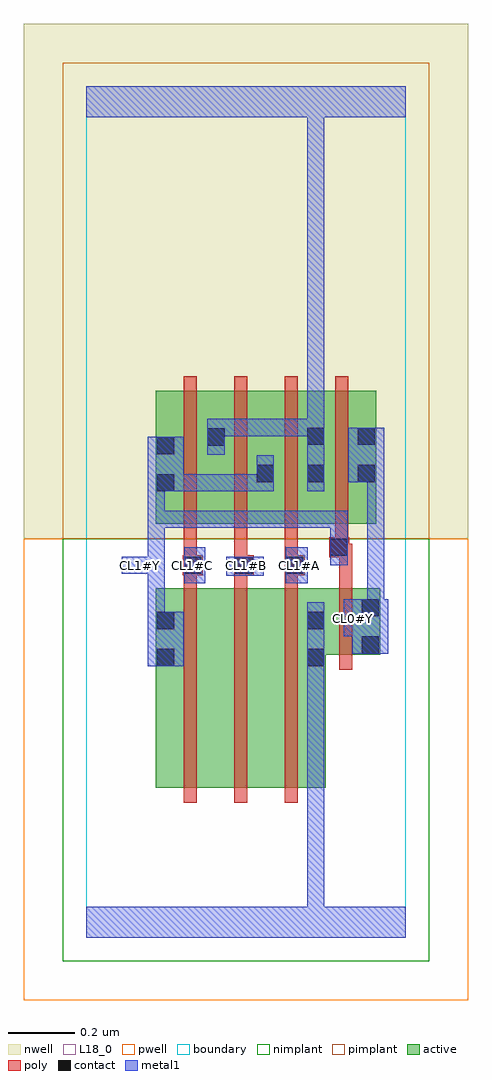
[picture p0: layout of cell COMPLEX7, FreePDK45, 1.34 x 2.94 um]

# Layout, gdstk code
import gdstk
lib = gdstk.Library(unit=1e-6, precision=1e-09)
def R(c, l, rs):  # rectangles x0, y0, x1, y1
    for r in rs: c.add(gdstk.rectangle(r[:2], r[2:], *l))
def A(c, l, x, y, w, h, nx, ny, dx, dy):  # array of equal rectangles
    R(c, l, [(x+i*dx, y+j*dy, x+i*dx+w, y+j*dy+h) for i in range(nx) for j in range(ny)])
active = (1, 0)
pwell = (2, 0)
nwell = (3, 0)
nimplant = (4, 0)
pimplant = (5, 0)
poly = (9, 0)
contact = (10, 0)
metal1 = (11, 0)
L18_0 = (18, 0)
boundary = (235, 0)

complex7 = lib.new_cell('COMPLEX7')
A(complex7, active, 0.508, 1.244, 0.06, 0.4, 3, 1, 0.152, 0)
R(complex7, active, [(0.208,0.45,0.388,1.05), (0.388,0.45,0.54,1.05), (0.54,0.45,0.72,1.05), (0.66,0.45,0.72,1.05), (0.208,0.556,0.268,1.05), (0.66,0.85,0.884,1.05), (0.824,0.85,0.884,1.05), (0.208,1.244,0.268,1.644), (0.208,1.244,0.42,1.644), (0.36,1.244,0.42,1.644), (0.36,1.244,0.568,1.644), (0.508,1.244,0.72,1.644), (0.66,1.244,0.872,1.644)])
R(complex7, pwell, [(-0.188,-0.188,1.148,1.2)])
R(complex7, nwell, [(-0.188,1.2,1.148,2.748)])
R(complex7, nimplant, [(-0.072,-0.072,1.032,1.2)])
R(complex7, pimplant, [(-0.072,1.2,1.032,2.632)])
A(complex7, poly, 0.292, 0.406, 0.04, 0.688, 3, 1, 0.152, 0)
A(complex7, poly, 0.292, 1.054, 0.04, 0.076, 3, 1, 0.152, 0)
A(complex7, poly, 0.292, 1.11, 0.04, 0.13, 3, 1, 0.152, 0)
A(complex7, poly, 0.292, 1.2, 0.04, 0.488, 4, 1, 0.152, 0)
R(complex7, poly, [(0.76,0.806,0.8,1.094), (0.76,1.054,0.8,1.184), (0.29,1.09,0.35,1.15), (0.444,1.09,0.504,1.15), (0.596,1.09,0.656,1.15), (0.292,1.11,0.332,1.15), (0.292,1.11,0.332,1.15), (0.444,1.11,0.484,1.15), (0.444,1.11,0.484,1.15), (0.596,1.11,0.636,1.15), (0.596,1.11,0.636,1.15), (0.73,1.144,0.79,1.204), (0.75,1.144,0.79,1.184), (0.75,1.144,0.8,1.184), (0.748,1.164,0.788,1.24)])
A(complex7, contact, 0.512, 1.37, 0.052, 0.052, 3, 1, 0.152, 0)
R(complex7, contact, [(0.212,0.816,0.264,0.868), (0.664,0.816,0.716,0.868), (0.828,0.854,0.88,0.906), (0.212,0.928,0.264,0.98), (0.664,0.928,0.716,0.98), (0.828,0.966,0.88,1.018), (0.294,1.094,0.346,1.146), (0.448,1.094,0.5,1.146), (0.6,1.094,0.652,1.146), (0.734,1.148,0.786,1.2), (0.212,1.342,0.264,1.394), (0.212,1.454,0.264,1.506), (0.364,1.48,0.416,1.532), (0.664,1.482,0.716,1.534), (0.816,1.482,0.868,1.534)])
R(complex7, metal1, [(0,0,0.96,0.092), (0.664,0.04,0.716,0.84), (0.664,0.788,0.716,0.84), (0.664,0.788,0.716,0.84), (0.664,0.788,0.716,0.84), (0.664,0.788,0.716,0.84), (0.664,0.788,0.716,0.84), (0.664,0.788,0.716,0.84), (0.664,0.788,0.716,0.84), (0.664,0.788,0.716,0.84), (0.664,0.788,0.716,1.008), (0.184,0.816,0.292,0.98), (0.8,0.854,0.908,1.018), (0.774,0.906,0.896,1.018), (0.8,0.906,0.852,0.958), (0.184,0.928,0.236,1.146), (0.844,0.966,0.896,1.422), (0.844,0.966,0.896,1.018), (0.844,0.966,0.896,1.018), (0.294,1.066,0.358,1.174), (0.6,1.066,0.666,1.174), (0.42,1.088,0.534,1.146), (0.106,1.094,0.236,1.146), (0.184,1.094,0.236,1.284), (0.734,1.12,0.786,1.284), (0.184,1.232,0.236,1.284), (0.184,1.232,0.236,1.284), (0.184,1.232,0.236,1.284), (0.184,1.232,0.438,1.284), (0.184,1.232,0.236,1.394), (0.386,1.232,0.438,1.284), (0.386,1.232,0.438,1.284), (0.386,1.232,0.438,1.284), (0.386,1.232,0.548,1.284), (0.496,1.232,0.548,1.284), (0.496,1.232,0.548,1.284), (0.496,1.232,0.548,1.284), (0.496,1.232,0.658,1.284), (0.606,1.232,0.658,1.284), (0.606,1.232,0.786,1.284), (0.184,1.342,0.292,1.506), (0.24,1.342,0.292,1.394), (0.24,1.342,0.292,1.394), (0.24,1.342,0.402,1.394), (0.35,1.342,0.402,1.394), (0.35,1.342,0.402,1.394), (0.35,1.342,0.402,1.394), (0.35,1.342,0.564,1.394), (0.512,1.342,0.564,1.45), (0.664,1.342,0.716,1.562), (0.788,1.37,0.896,1.534), (0.364,1.452,0.416,1.56), (0.364,1.508,0.416,1.56), (0.364,1.508,0.416,1.56), (0.364,1.508,0.548,1.56), (0.496,1.508,0.548,1.56), (0.496,1.508,0.548,1.56), (0.496,1.508,0.548,1.56), (0.496,1.508,0.716,1.56), (0.664,1.51,0.716,1.562), (0.664,1.51,0.716,1.562), (0.664,1.51,0.716,1.562), (0.664,1.51,0.716,1.562), (0.664,1.51,0.716,2.52), (0,2.468,0.96,2.56), (0.664,2.468,0.716,2.52), (0.664,2.468,0.716,2.52), (0.664,2.468,0.716,2.52), (0.664,2.468,0.716,2.52), (0.664,2.468,0.716,2.52), (0.664,2.468,0.716,2.52), (0.664,2.468,0.716,2.52), (0.664,2.468,0.716,2.52), (0.664,2.468,0.716,2.52), (0.664,2.468,0.716,2.52), (0.664,2.468,0.716,2.52), (0.664,2.468,0.716,2.52)])
A(complex7, L18_0, 0.134, 1.094, 0.052, 0.052, 4, 1, 0.16, 0)
R(complex7, L18_0, [(0,0,0.96,0.092), (0.664,0.04,0.716,0.84), (0.664,0.788,0.716,0.84), (0.664,0.788,0.716,0.84), (0.664,0.788,0.716,0.84), (0.664,0.788,0.716,0.84), (0.664,0.788,0.716,0.84), (0.664,0.788,0.716,0.84), (0.664,0.788,0.716,0.84), (0.664,0.788,0.716,0.84), (0.664,0.788,0.716,1.008), (0.184,0.816,0.292,0.98), (0.8,0.854,0.908,1.018), (0.774,0.906,0.896,1.018), (0.8,0.906,0.852,0.958), (0.184,0.928,0.236,1.146), (0.774,0.934,0.826,0.986), (0.844,0.966,0.896,1.018), (0.844,0.966,0.896,1.018), (0.844,0.966,0.896,1.422), (0.294,1.066,0.358,1.174), (0.6,1.066,0.666,1.174), (0.42,1.088,0.534,1.146), (0.106,1.094,0.236,1.146), (0.184,1.094,0.236,1.284), (0.734,1.12,0.786,1.284), (0.184,1.232,0.236,1.284), (0.184,1.232,0.236,1.284), (0.184,1.232,0.236,1.284), (0.184,1.232,0.236,1.394), (0.184,1.232,0.438,1.284), (0.386,1.232,0.438,1.284), (0.386,1.232,0.438,1.284), (0.386,1.232,0.438,1.284), (0.386,1.232,0.548,1.284), (0.496,1.232,0.548,1.284), (0.496,1.232,0.548,1.284), (0.496,1.232,0.548,1.284), (0.496,1.232,0.658,1.284), (0.606,1.232,0.658,1.284), (0.606,1.232,0.786,1.284), (0.184,1.342,0.292,1.506), (0.24,1.342,0.292,1.394), (0.24,1.342,0.292,1.394), (0.24,1.342,0.402,1.394), (0.35,1.342,0.402,1.394), (0.35,1.342,0.402,1.394), (0.35,1.342,0.402,1.394), (0.35,1.342,0.564,1.394), (0.512,1.342,0.564,1.45), (0.664,1.342,0.716,1.562), (0.788,1.37,0.896,1.534), (0.364,1.452,0.416,1.56), (0.364,1.508,0.416,1.56), (0.364,1.508,0.416,1.56), (0.364,1.508,0.548,1.56), (0.496,1.508,0.548,1.56), (0.496,1.508,0.548,1.56), (0.496,1.508,0.548,1.56), (0.496,1.508,0.716,1.56), (0.664,1.51,0.716,1.562), (0.664,1.51,0.716,1.562), (0.664,1.51,0.716,1.562), (0.664,1.51,0.716,1.562), (0.664,1.51,0.716,2.52), (0,2.468,0.96,2.56), (0.664,2.468,0.716,2.52), (0.664,2.468,0.716,2.52), (0.664,2.468,0.716,2.52), (0.664,2.468,0.716,2.52), (0.664,2.468,0.716,2.52), (0.664,2.468,0.716,2.52), (0.664,2.468,0.716,2.52), (0.664,2.468,0.716,2.52), (0.664,2.468,0.716,2.52), (0.664,2.468,0.716,2.52), (0.664,2.468,0.716,2.52), (0.664,2.468,0.716,2.52)])
R(complex7, boundary, [(0,0,0.96,2.56)])
complex7.add(gdstk.Label('CL0#Y', (0.8,0.96), layer=11, texttype=0))
complex7.add(gdstk.Label('CL1#A', (0.64,1.12), layer=11, texttype=0))
complex7.add(gdstk.Label('CL1#B', (0.48,1.12), layer=11, texttype=0))
complex7.add(gdstk.Label('CL1#C', (0.32,1.12), layer=11, texttype=0))
complex7.add(gdstk.Label('CL1#Y', (0.16,1.12), layer=11, texttype=0))

lib.write_gds('COMPLEX7.gds')
